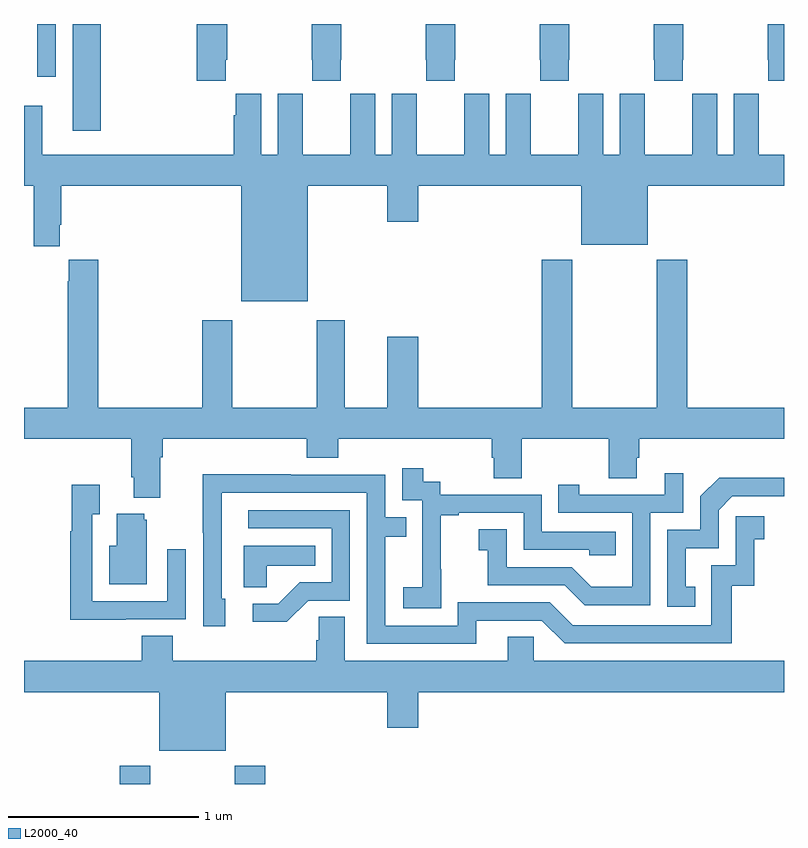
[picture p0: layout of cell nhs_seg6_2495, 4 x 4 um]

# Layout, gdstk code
import gdstk
lib = gdstk.Library(unit=1e-6, precision=1e-09)
def R(c, l, rs):  # rectangles x0, y0, x1, y1
    for r in rs: c.add(gdstk.rectangle(r[:2], r[2:], *l))
def P(c, l, *ps):  # polygons
    for p in ps: c.add(gdstk.Polygon(p, *l))
L2000_40 = (2000, 40)

nhs_seg6_2495 = lib.new_cell('nhs_seg6_2495')
R(nhs_seg6_2495, L2000_40, [(259.505,965.5,259.665,965.596), (260.11,965.5,260.27,965.596), (259.256,968.937,259.403,969.5), (259.071,969.222,259.167,969.5)])
P(nhs_seg6_2495, L2000_40, [(260.667,969.313),(260.67,969.313),(260.67,969.5),(260.515,969.5),(260.515,969.313),(260.517,969.313),(260.517,969.201),(260.667,969.201)],
  [(260.063,969.313),(260.07,969.313),(260.07,969.5),(259.91,969.5),(259.91,969.201),(260.063,969.201)],
  [(263,969.5),(262.915,969.5),(262.915,969.313),(262.917,969.313),(262.917,969.201),(263,969.201)],
  [(262.467,969.313),(262.47,969.313),(262.47,969.5),(262.315,969.5),(262.315,969.313),(262.317,969.313),(262.317,969.201),(262.467,969.201)],
  [(261.267,969.313),(261.27,969.313),(261.27,969.5),(261.115,969.5),(261.115,969.313),(261.117,969.313),(261.117,969.201),(261.267,969.201)],
  [(261.867,969.313),(261.87,969.313),(261.87,969.5),(261.715,969.5),(261.715,969.313),(261.717,969.313),(261.717,969.201),(261.867,969.201)],
  [(263,968.812),(262.867,968.812),(262.867,969.02),(262.866,969.02),(262.866,969.133),(262.736,969.133),(262.736,968.812),(262.648,968.812),(262.648,969.133),(262.518,969.133),(262.518,969.02),(262.517,969.02),(262.517,968.812),(262.267,968.812),(262.267,969.02),(262.266,969.02),(262.266,969.133),(262.136,969.133),(262.136,968.812),(262.048,968.812),(262.048,969.133),(261.918,969.133),(261.918,969.02),(261.917,969.02),(261.917,968.812),(261.667,968.812),(261.667,969.02),(261.666,969.02),(261.666,969.133),(261.536,969.133),(261.536,968.812),(261.448,968.812),(261.448,969.133),(261.318,969.133),(261.318,969.02),(261.317,969.02),(261.317,968.812),(261.067,968.812),(261.067,969.02),(261.066,969.02),(261.066,969.133),(260.936,969.133),(260.936,968.812),(260.848,968.812),(260.848,969.133),(260.718,969.133),(260.718,969.02),(260.717,969.02),(260.717,968.812),(260.467,968.812),(260.467,969.02),(260.466,969.02),(260.466,969.133),(260.336,969.133),(260.336,968.812),(260.248,968.812),(260.248,969.133),(260.114,969.133),(260.114,969.02),(260.105,969.02),(260.105,968.812),(259.096,968.812),(259.096,969.07),(259,969.07),(259,968.648),(259.052,968.648),(259.052,968.331),(259.189,968.331),(259.189,968.443),(259.196,968.443),(259.196,968.648),(260.144,968.648),(260.144,968.042),(260.494,968.042),(260.494,968.648),(260.912,968.648),(260.912,968.46),(261.076,968.46),(261.076,968.648),(261.932,968.648),(261.932,968.339),(262.282,968.339),(262.282,968.648),(263,968.648)],
  [(260.541,967.48),(260.097,967.48),(260.097,967.942),(259.937,967.942),(259.937,967.48),(259.391,967.48),(259.391,968.26),(259.235,968.26),(259.235,968.147),(259.231,968.147),(259.231,967.48),(259,967.48),(259,967.316),(259.565,967.316),(259.565,967.114),(259.577,967.114),(259.577,967.007),(259.717,967.007),(259.717,967.22),(259.73,967.22),(259.73,967.316),(260.489,967.316),(260.489,967.217),(260.654,967.217),(260.654,967.316),(261.461,967.316),(261.461,967.218),(261.473,967.218),(261.473,967.108),(261.621,967.108),(261.621,967.316),(262.078,967.316),(262.078,967.108),(262.225,967.108),(262.225,967.218),(262.238,967.218),(262.238,967.316),(263,967.316),(263,967.48),(262.49,967.48),(262.49,968.26),(262.33,968.26),(262.33,967.48),(261.885,967.48),(261.885,968.26),(261.725,968.26),(261.725,967.48),(261.076,967.48),(261.076,967.855),(260.912,967.855),(260.912,967.48),(260.689,967.48),(260.689,967.942),(260.541,967.942)],
  [(261.195,966.631),(261.194,966.631),(261.194,966.915),(261.289,966.915),(261.289,966.927),(261.63,966.927),(261.63,966.732),(261.975,966.732),(261.975,966.705),(262.115,966.705),(262.115,966.828),(261.726,966.828),(261.726,967.023),(261.192,967.023),(261.192,967.092),(261.1,967.092),(261.1,967.162),(260.991,967.162),(260.991,966.993),(261.096,966.993),(261.096,966.764),(261.095,966.764),(261.095,966.535),(260.997,966.535),(260.997,966.425),(261.195,966.425)],
  [(262.296,966.927),(262.47,966.927),(262.47,967.135),(262.373,967.135),(262.373,967.023),(261.922,967.023),(261.922,967.075),(261.811,967.075),(261.811,966.927),(262.2,966.927),(262.2,966.538),(261.986,966.538),(261.882,966.642),(261.54,966.642),(261.54,966.841),(261.393,966.841),(261.393,966.731),(261.442,966.731),(261.442,966.546),(261.845,966.546),(261.95,966.441),(262.296,966.441)],
  [(261.379,966.36),(261.726,966.36),(261.846,966.24),(262.726,966.24),(262.726,966.543),(262.844,966.543),(262.844,966.789),(262.897,966.789),(262.897,966.91),(262.746,966.91),(262.746,966.651),(262.617,966.651),(262.617,966.336),(261.888,966.336),(261.768,966.456),(261.282,966.456),(261.282,966.333),(260.901,966.333),(260.901,966.802),(261.011,966.802),(261.011,966.903),(260.901,966.903),(260.901,967.128),(260.405,967.128),(260.405,967.13),(259.942,967.13),(259.942,966.823),(259.944,966.823),(259.944,966.33),(260.059,966.33),(260.059,966.474),(260.04,966.474),(260.04,967.032),(260.805,967.032),(260.805,966.237),(261.379,966.237)],
  [(262.532,966.537),(262.483,966.537),(262.483,966.741),(262.656,966.741),(262.656,966.942),(262.728,967.014),(263,967.014),(263,967.112),(262.658,967.112),(262.56,967.014),(262.56,966.837),(262.386,966.837),(262.386,966.432),(262.532,966.432)],
  [(259.535,966.366),(259.851,966.366),(259.851,966.736),(259.755,966.736),(259.755,966.462),(259.359,966.462),(259.359,966.919),(259.399,966.919),(259.399,967.075),(259.251,967.075),(259.251,966.83),(259.243,966.83),(259.243,966.365),(259.535,966.365)],
  [(260.496,966.465),(260.715,966.465),(260.715,966.942),(260.181,966.942),(260.181,966.846),(260.619,966.846),(260.619,966.561),(260.45,966.561),(260.339,966.45),(260.205,966.45),(260.205,966.353),(260.383,966.353)],
  [(259.645,966.891),(259.634,966.891),(259.634,966.922),(259.487,966.922),(259.487,966.754),(259.448,966.754),(259.448,966.551),(259.645,966.551)],
  [(260.277,966.65),(260.534,966.65),(260.534,966.754),(260.156,966.754),(260.156,966.535),(260.277,966.535)],
  [(260.062,965.984),(260.912,965.984),(260.912,965.796),(261.076,965.796),(261.076,965.984),(263,965.984),(263,966.148),(261.684,966.148),(261.684,966.275),(261.545,966.275),(261.545,966.148),(260.689,966.148),(260.689,966.38),(260.55,966.38),(260.55,966.257),(260.537,966.257),(260.537,966.148),(259.784,966.148),(259.784,966.281),(259.619,966.281),(259.619,966.148),(259,966.148),(259,965.984),(259.712,965.984),(259.712,965.675),(260.062,965.675)])

lib.write_gds('nhs_seg6_2495.gds')
